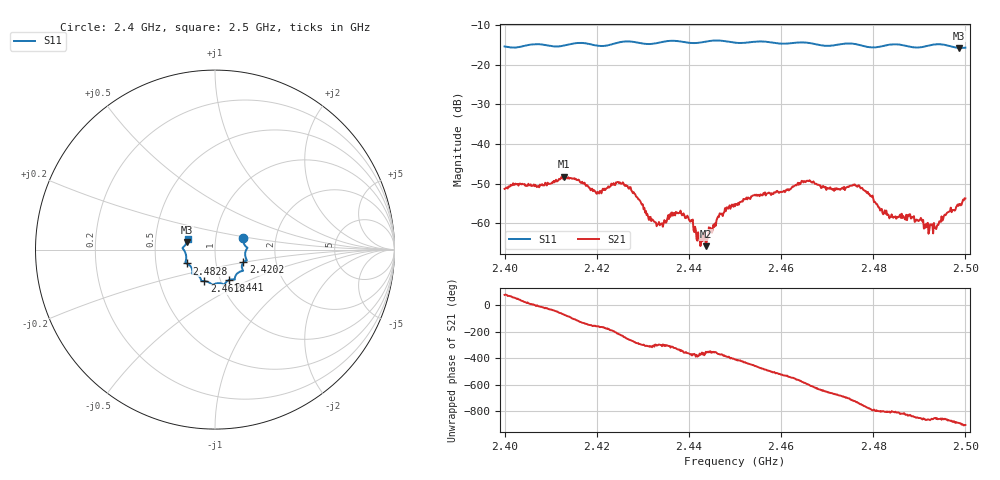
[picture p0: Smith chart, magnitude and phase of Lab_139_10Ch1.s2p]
# Hz S RI R 50
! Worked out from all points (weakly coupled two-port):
!   601 points, 2.4 GHz to 2.5 GHz, reference 50 ohm
!   highest |S21| = -48.27 dB at 2.4128 GHz (marker M1); lowest = -65.8 dB at 2.4437 GHz (marker M2)
!   lowest |S11| = -15.8 dB at 2.4987 GHz (marker M3), VSWR 1.39, Z = 36.4 + j3.13 ohm
!   |S11| at or under -10 dB: start of sweep to end of sweep
!   S12 and S22 are empty: the file has one direction only
!   S11 on the Smith chart (normalised r, x): 2.4 GHz: 1.36, +0.18; 2.4202 GHz: 1.36, -0.20; 2.441 GHz: 1.10, -0.39; 2.4618 GHz: 0.84, -0.30; 2.4828 GHz: 0.72, -0.12; 2.5 GHz: 0.73, +0.09
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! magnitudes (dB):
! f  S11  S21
! 2.4 GHz  -15.4  -51.3
! 2.4128 GHz  -15.2  -48.3
! 2.4167 GHz  -14.5  -49.8
! 2.4202 GHz  -15.2  -52.1
! 2.4262 GHz  -14.2  -50.6
! 2.4333 GHz  -14.5  -60.2
! 2.4377 GHz  -14.1  -57.5
! 2.441 GHz  -14.6  -61.7
! 2.4422 GHz  -14.5  -62.8
! 2.4437 GHz  -14.2  -65.8
! 2.4465 GHz  -13.9  -58.4
! 2.45 GHz  -14.5  -55.7
! 2.4618 GHz  -14.6  -51.4
! 2.4667 GHz  -14.6  -49.7
! 2.4713 GHz  -15.2  -51.3
! 2.4765 GHz  -14.9  -50.8
! 2.4828 GHz  -15.1  -56.8
! 2.4833 GHz  -15.0  -57.9
! 2.4883 GHz  -15.6  -58.7
! 2.4935 GHz  -14.9  -61.1
! 2.4987 GHz  -15.8  -55.1
! 2.5 GHz  -15.7  -53.7
